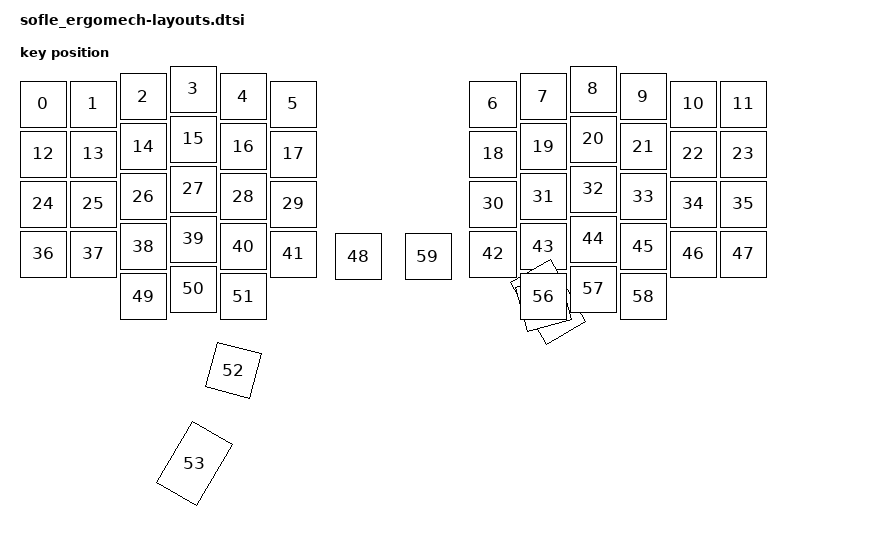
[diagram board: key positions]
#include <physical_layouts.dtsi>

/ {
    layout_0: layout_0 {
        compatible = "zmk,physical-layout";
        display-name = "LAYOUT";
        transform = <&default_transform>;

        keys  //                     w   h    x    y     rot    rx    ry
            = <&key_physical_attrs 100 100    0   30       0     0     0>
            , <&key_physical_attrs 100 100  100   30       0     0     0>
            , <&key_physical_attrs 100 100  200   15       0     0     0>
            , <&key_physical_attrs 100 100  300    0       0     0     0>
            , <&key_physical_attrs 100 100  400   15       0     0     0>
            , <&key_physical_attrs 100 100  500   30       0     0     0>
            , <&key_physical_attrs 100 100  900   30       0     0     0>
            , <&key_physical_attrs 100 100 1000   15       0     0     0>
            , <&key_physical_attrs 100 100 1100    0       0     0     0>
            , <&key_physical_attrs 100 100 1200   15       0     0     0>
            , <&key_physical_attrs 100 100 1300   30       0     0     0>
            , <&key_physical_attrs 100 100 1400   30       0     0     0>
            , <&key_physical_attrs 100 100    0  130       0     0     0>
            , <&key_physical_attrs 100 100  100  130       0     0     0>
            , <&key_physical_attrs 100 100  200  115       0     0     0>
            , <&key_physical_attrs 100 100  300  100       0     0     0>
            , <&key_physical_attrs 100 100  400  115       0     0     0>
            , <&key_physical_attrs 100 100  500  130       0     0     0>
            , <&key_physical_attrs 100 100  900  130       0     0     0>
            , <&key_physical_attrs 100 100 1000  115       0     0     0>
            , <&key_physical_attrs 100 100 1100  100       0     0     0>
            , <&key_physical_attrs 100 100 1200  115       0     0     0>
            , <&key_physical_attrs 100 100 1300  130       0     0     0>
            , <&key_physical_attrs 100 100 1400  130       0     0     0>
            , <&key_physical_attrs 100 100    0  230       0     0     0>
            , <&key_physical_attrs 100 100  100  230       0     0     0>
            , <&key_physical_attrs 100 100  200  215       0     0     0>
            , <&key_physical_attrs 100 100  300  200       0     0     0>
            , <&key_physical_attrs 100 100  400  215       0     0     0>
            , <&key_physical_attrs 100 100  500  230       0     0     0>
            , <&key_physical_attrs 100 100  900  230       0     0     0>
            , <&key_physical_attrs 100 100 1000  215       0     0     0>
            , <&key_physical_attrs 100 100 1100  200       0     0     0>
            , <&key_physical_attrs 100 100 1200  215       0     0     0>
            , <&key_physical_attrs 100 100 1300  230       0     0     0>
            , <&key_physical_attrs 100 100 1400  230       0     0     0>
            , <&key_physical_attrs 100 100    0  330       0     0     0>
            , <&key_physical_attrs 100 100  100  330       0     0     0>
            , <&key_physical_attrs 100 100  200  315       0     0     0>
            , <&key_physical_attrs 100 100  300  300       0     0     0>
            , <&key_physical_attrs 100 100  400  315       0     0     0>
            , <&key_physical_attrs 100 100  500  330       0     0     0>
            , <&key_physical_attrs 100 100  900  330       0     0     0>
            , <&key_physical_attrs 100 100 1000  315       0     0     0>
            , <&key_physical_attrs 100 100 1100  300       0     0     0>
            , <&key_physical_attrs 100 100 1200  315       0     0     0>
            , <&key_physical_attrs 100 100 1300  330       0     0     0>
            , <&key_physical_attrs 100 100 1400  330       0     0     0>
            , <&key_physical_attrs 100 100  630  335       0     0     0>
            , <&key_physical_attrs 100 100  200  415       0     0     0>
            , <&key_physical_attrs 100 100  300  400       0     0     0>
            , <&key_physical_attrs 100 100  400  415       0     0     0>
            , <&key_physical_attrs 100 100  525  430    1500     0     0>
            , <&key_physical_attrs 100 150  655  440    3000     0     0>
            , <&key_physical_attrs 100 150  745  440 (-3000)   855     0>
            , <&key_physical_attrs 100 100  875  430 (-1500)   985     0>
            , <&key_physical_attrs 100 100 1000  415       0     0     0>
            , <&key_physical_attrs 100 100 1100  400       0     0     0>
            , <&key_physical_attrs 100 100 1200  415       0     0     0>
            , <&key_physical_attrs 100 100  770  335       0     0     0>
            ;
    };
};
